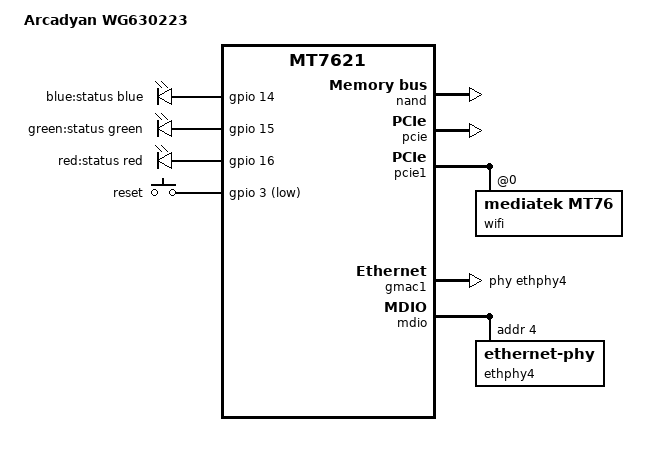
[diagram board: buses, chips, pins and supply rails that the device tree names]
// SPDX-License-Identifier: GPL-2.0-or-later OR MIT

#include "mt7621.dtsi"

#include <dt-bindings/gpio/gpio.h>
#include <dt-bindings/input/input.h>
#include <dt-bindings/leds/common.h>

/ {
	compatible = "arcadyan,wg630223", "mediatek,mt7621-soc";
	model = "Arcadyan WG630223";

	aliases {
		led-boot = &led_status_green;
		led-failsafe = &led_status_red;
		led-running = &led_status_blue;
		led-upgrade = &led_status_green;
		label-mac-device = &gmac0;
	};

	chosen {
		bootargs = "console=ttyS0,115200";
		bootargs-override = "console=ttyS0,115200";
	};

	leds {
		compatible = "gpio-leds";
		led_status_blue: led-1 {
			label = "blue:status";
			color = <LED_COLOR_ID_BLUE>;
			function = LED_FUNCTION_STATUS;
			gpios = <&gpio 14 GPIO_ACTIVE_HIGH>;
		};

		led_status_green: led-2 {
			label = "green:status";
			color = <LED_COLOR_ID_GREEN>;
			function = LED_FUNCTION_STATUS;
			gpios = <&gpio 15 GPIO_ACTIVE_HIGH>;
		};

		led_status_red: led-3 {
			label = "red:status";
			color = <LED_COLOR_ID_RED>;
			function = LED_FUNCTION_STATUS;
			gpios = <&gpio 16 GPIO_ACTIVE_HIGH>;
		};
	};

	keys {
		compatible = "gpio-keys";

		key-restart {
			label = "reset";
			gpios = <&gpio 3 GPIO_ACTIVE_LOW>;
			linux,code = <KEY_RESTART>;
		};
	};

};

&nand {
	status = "okay";
	mediatek,nmbm;
	mediatek,bmt-remap-range = <0x0000000 0x05c0000>, <0x1980000 0x3800000>;

	partitions {
		compatible = "fixed-partitions";
		#address-cells = <1>;
		#size-cells = <1>;

		partition@0 {
			label = "u-boot";
			reg = <0x0 0x80000>;
			read-only;
		};

		partition@80000 {
			label = "u-boot-env";
			reg = <0x80000 0x80000>;
		};

		factory: partition@100000 {
			label = "factory";
			reg = <0x100000 0x80000>;
			read-only;

			compatible = "nvmem-cells";
			#address-cells = <1>;
			#size-cells = <1>;

			macaddr_factory_fff0: macaddr@fff0 {
				reg = <0xfff0 0x6>;
			};
		};

		partition@180000 {
			label = "firmware";
			reg = <0x180000 0x1800000>;
			compatible = "fixed-partitions";
			#address-cells = <1>;
			#size-cells = <1>;

			partition@0 {
				label = "kernel";
				reg = <0x0 0x440000>;
			};

			partition@440000 {
				label = "ubi";
				reg = <0x440000 0x13c0000>;
			};
		};

		partition@1980000 {
			label = "firmware_backup";
			reg = <0x1980000 0x1800000>;
		};

		partition@3180000 {
			label = "firmware_mp";
			reg = <0x3180000 0x1800000>;
		};

		partition@4f80000 {
                        label = "board_data";
                        reg = <0x4f80000 0x200000>;
			read-only;
                };
	};
};

&pcie {
	status = "okay";
};

&pcie1 {
	wifi@0,0 {
		compatible = "mediatek,mt76";
		reg = <0x0000 0 0 0 0>;
		mediatek,mtd-eeprom = <&factory 0x0000>;
	};
};

&gmac0 {
	nvmem-cells = <&macaddr_factory_fff0>;
	nvmem-cell-names = "mac-address";
};

&gmac1 {
	status = "okay";
	label = "wan";
	phy-handle = <&ethphy4>;

	nvmem-cells = <&macaddr_factory_fff0>;
	nvmem-cell-names = "mac-address";
};

&mdio {
	ethphy4: ethernet-phy@4 {
		reg = <4>;
	};
};

&switch0 {
	ports {
		port@2 {
			status = "okay";
			label = "lan2";
		};

		port@3 {
			status = "okay";
			label = "lan1";
		};
	};
};
